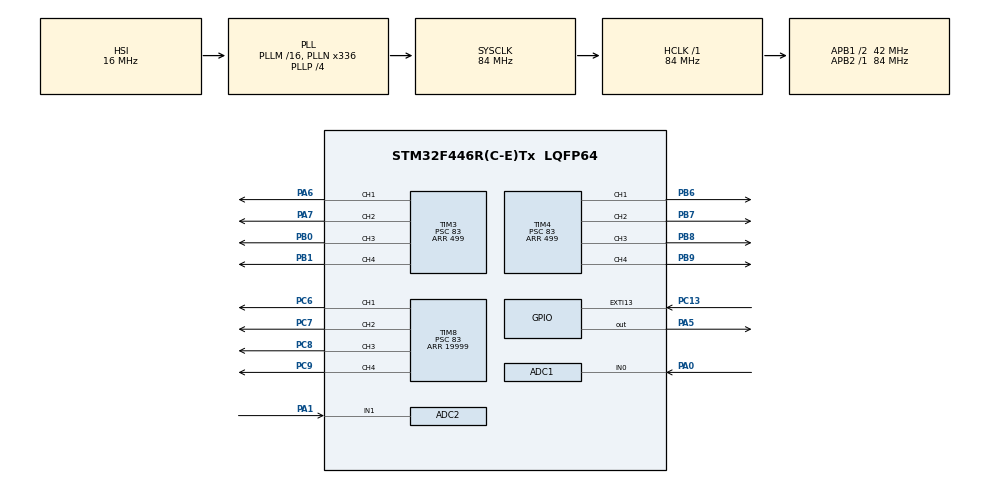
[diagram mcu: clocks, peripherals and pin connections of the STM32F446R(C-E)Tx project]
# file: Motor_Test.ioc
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ADC1.Channel-0\#ChannelRegularConversion=ADC_CHANNEL_0
ADC1.NbrOfConversion=1
ADC1.NbrOfConversionFlag=1
ADC1.Rank-0\#ChannelRegularConversion=1
ADC1.SamplingTime-0\#ChannelRegularConversion=ADC_SAMPLETIME_3CYCLES
ADC1.master=1
ADC2.Channel-0\#ChannelRegularConversion=ADC_CHANNEL_1
ADC2.NbrOfConversionFlag=1
ADC2.Rank-0\#ChannelRegularConversion=1
ADC2.SamplingTime-0\#ChannelRegularConversion=ADC_SAMPLETIME_3CYCLES
Mcu.Family=STM32F4
Mcu.Name=STM32F446R(C-E)Tx
Mcu.Package=LQFP64
NUCLEO-F446RE.BUTTON=1
NUCLEO-F446RE.LD1=true
NVIC.EXTI15_10_IRQn=true\:0\:0\:false\:false\:true\:false\:true\:true
NVIC.PriorityGroup=NVIC_PRIORITYGROUP_0
PA0-WKUP.Signal=ADCx_IN0
PA1.Signal=ADCx_IN1
PA13.GPIO_Label=TMS
PA13.Signal=SYS_JTMS-SWDIO
PA14.GPIO_Label=TCK
PA14.Signal=SYS_JTCK-SWCLK
PA2.GPIO_Label=USART_TX
PA2.Signal=USART2_TX
PA3.GPIO_Label=USART_RX
PA3.Signal=USART2_RX
PA5.Signal=GPIO_Output
PA6.Signal=S_TIM3_CH1
PA7.Signal=S_TIM3_CH2
PB0.Signal=S_TIM3_CH3
PB1.Signal=S_TIM3_CH4
PB3.GPIO_Label=SWO
PB3.Signal=SYS_JTDO-SWO
PB6.Signal=S_TIM4_CH1
PB7.Signal=S_TIM4_CH2
PB8.Signal=S_TIM4_CH3
PB9.Signal=S_TIM4_CH4
PC13.Signal=GPXTI13
PC14-OSC32_IN.Signal=RCC_OSC32_IN
PC15-OSC32_OUT.Signal=RCC_OSC32_OUT
PC6.Signal=S_TIM8_CH1
PC7.Signal=S_TIM8_CH2
PC8.Signal=S_TIM8_CH3
PC9.Signal=S_TIM8_CH4
PH0-OSC_IN.Signal=RCC_OSC_IN
PH1-OSC_OUT.Signal=RCC_OSC_OUT
ProjectManager.HeapSize=0x200
ProjectManager.StackSize=0x400
ProjectManager.TargetToolchain=STM32CubeIDE
RCC.AHBFreq_Value=84000000
RCC.APB1CLKDivider=RCC_HCLK_DIV2
RCC.APB1Freq_Value=42000000
RCC.APB1TimFreq_Value=84000000
RCC.APB2Freq_Value=84000000
RCC.APB2TimFreq_Value=84000000
RCC.CortexFreq_Value=84000000
RCC.FLatency-AdvancedSettings=FLASH_LATENCY_2
RCC.HCLKFreq_Value=84000000
RCC.HSE_VALUE=8000000
RCC.HSI_VALUE=16000000
RCC.LSE_VALUE=32768
RCC.PLLN=336
RCC.PLLP=RCC_PLLP_DIV4
RCC.SYSCLKFreq_VALUE=84000000
RCC.SYSCLKSource=RCC_SYSCLKSOURCE_PLLCLK
RCC.USBFreq_Value=168000000
RCC.VCOOutputFreq_Value=336000000
SH.ADCx_IN0.0=ADC1_IN0,IN0
SH.ADCx_IN0.1=ADC2_IN0
SH.ADCx_IN1.0=ADC2_IN1,IN1
SH.S_TIM3_CH1.0=TIM3_CH1,PWM Generation1 CH1
SH.S_TIM3_CH2.0=TIM3_CH2,PWM Generation2 CH2
SH.S_TIM3_CH3.0=TIM3_CH3,PWM Generation3 CH3
SH.S_TIM3_CH4.0=TIM3_CH4,PWM Generation4 CH4
SH.S_TIM4_CH1.0=TIM4_CH1,PWM Generation1 CH1
SH.S_TIM4_CH2.0=TIM4_CH2,PWM Generation2 CH2
SH.S_TIM4_CH3.0=TIM4_CH3,PWM Generation3 CH3
SH.S_TIM4_CH4.0=TIM4_CH4,PWM Generation4 CH4
SH.S_TIM8_CH1.0=TIM8_CH1,PWM Generation1 CH1
SH.S_TIM8_CH2.0=TIM8_CH2,PWM Generation2 CH2
SH.S_TIM8_CH3.0=TIM8_CH3,PWM Generation3 CH3
SH.S_TIM8_CH4.0=TIM8_CH4,PWM Generation4 CH4
TIM3.Channel-PWM\ Generation1\ CH1=TIM_CHANNEL_1
TIM3.Channel-PWM\ Generation2\ CH2=TIM_CHANNEL_2
TIM3.Channel-PWM\ Generation3\ CH3=TIM_CHANNEL_3
TIM3.Channel-PWM\ Generation4\ CH4=TIM_CHANNEL_4
TIM3.Period=499
TIM3.Prescaler=83
TIM4.Channel-PWM\ Generation1\ CH1=TIM_CHANNEL_1
TIM4.Channel-PWM\ Generation2\ CH2=TIM_CHANNEL_2
TIM4.Channel-PWM\ Generation3\ CH3=TIM_CHANNEL_3
TIM4.Channel-PWM\ Generation4\ CH4=TIM_CHANNEL_4
TIM4.Period=499
TIM4.Prescaler=83
TIM8.Channel-PWM\ Generation1\ CH1=TIM_CHANNEL_1
TIM8.Channel-PWM\ Generation2\ CH2=TIM_CHANNEL_2
TIM8.Channel-PWM\ Generation3\ CH3=TIM_CHANNEL_3
TIM8.Channel-PWM\ Generation4\ CH4=TIM_CHANNEL_4
TIM8.Period=19999
TIM8.Prescaler=83
TIM8.Pulse-PWM\ Generation1\ CH1=1500
TIM8.Pulse-PWM\ Generation2\ CH2=1500
TIM8.Pulse-PWM\ Generation4\ CH4=1500
VP_NUCLEO-F446RE_VS_BSP_COMMON.Mode=COMMON
board=NUCLEO-F446RE

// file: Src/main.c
/* USER CODE BEGIN Header */
/**
  ******************************************************************************
  * @file           : main.c
  * @brief          : Main program body
  ******************************************************************************
  * @attention
  *
  * Copyright (c) 2026 STMicroelectronics.
  * All rights reserved.
  *
  * This software is licensed under terms that can be found in the LICENSE file
  * in the root directory of this software component.
  * If no LICENSE file comes with this software, it is provided AS-IS.
  *
  ******************************************************************************
  */
/* USER CODE END Header */
#include "main.h"

ADC_HandleTypeDef hadc1;
ADC_HandleTypeDef hadc2;

TIM_HandleTypeDef htim3;
TIM_HandleTypeDef htim4;
TIM_HandleTypeDef htim8;

/* USER CODE BEGIN PV */

uint32_t adc_value = 0;
uint32_t pwm_value = 0;
uint32_t servo_adc = 0;
uint32_t servo_pulse = 1500;

/* USER CODE END PV */

void SystemClock_Config(void);
static void MX_GPIO_Init(void);
static void MX_TIM3_Init(void);
static void MX_TIM4_Init(void);
static void MX_ADC1_Init(void);
static void MX_ADC2_Init(void);
static void MX_TIM8_Init(void);

int main(void)
{

  /* MCU Configuration--------------------------------------------------------*/

  /* Reset of all peripherals, Initializes the Flash interface and the Systick. */
  HAL_Init();

  /* Configure the system clock */
  SystemClock_Config();

  /* Initialize all configured peripherals */
  MX_GPIO_Init();
  MX_TIM3_Init();
  MX_TIM4_Init();
  MX_ADC1_Init();
  MX_ADC2_Init();
  MX_TIM8_Init();
  /* USER CODE BEGIN 2 */

  /* Start TIM3 PWM channels - Motors 1 and 2 */
  HAL_TIM_PWM_Start(&htim3, TIM_CHANNEL_1);
  HAL_TIM_PWM_Start(&htim3, TIM_CHANNEL_2);
  HAL_TIM_PWM_Start(&htim3, TIM_CHANNEL_3);
  HAL_TIM_PWM_Start(&htim3, TIM_CHANNEL_4);

  /* Start TIM4 PWM channels - Motors 3 and 4 */
  HAL_TIM_PWM_Start(&htim4, TIM_CHANNEL_1);
  HAL_TIM_PWM_Start(&htim4, TIM_CHANNEL_2);
  HAL_TIM_PWM_Start(&htim4, TIM_CHANNEL_3);
  HAL_TIM_PWM_Start(&htim4, TIM_CHANNEL_4);

  HAL_TIM_PWM_Start(&htim8, TIM_CHANNEL_1);
  HAL_TIM_PWM_Start(&htim8, TIM_CHANNEL_2);
  HAL_TIM_PWM_Start(&htim8, TIM_CHANNEL_3);
  HAL_TIM_PWM_Start(&htim8, TIM_CHANNEL_4);

  HAL_Delay(1000);

  /* USER CODE END 2 */

  /* Initialize leds */
  BSP_LED_Init(LED2);

  /* Initialize USER push-button, will be used to trigger an interrupt each time it's pressed.*/
  BSP_PB_Init(BUTTON_USER, BUTTON_MODE_EXTI);

  /* Infinite loop */
  /* USER CODE BEGIN WHILE */
  while (1)
  {

	  /* Start ADC conversion */
	  HAL_ADC_Start(&hadc1);

	  /* Wait for conversion */
	  HAL_ADC_PollForConversion(&hadc1, HAL_MAX_DELAY);

	  /* Read ADC value: 0 to 4095 */
	  adc_value = HAL_ADC_GetValue(&hadc1);

	  /* Convert 0...4095 into 0...500 */
	  pwm_value = (adc_value * 500) / 4095;

	  /* MOTOR 1 */
	  __HAL_TIM_SET_COMPARE(&htim3, TIM_CHANNEL_1, pwm_value);
	  __HAL_TIM_SET_COMPARE(&htim3, TIM_CHANNEL_2, 0);

	  /* MOTOR 2 */
	  __HAL_TIM_SET_COMPARE(&htim3, TIM_CHANNEL_3, pwm_value);
	  __HAL_TIM_SET_COMPARE(&htim3, TIM_CHANNEL_4, 0);

	  /* MOTOR 3 */
	  __HAL_TIM_SET_COMPARE(&htim4, TIM_CHANNEL_1, pwm_value);
	  __HAL_TIM_SET_COMPARE(&htim4, TIM_CHANNEL_2, 0);

	  /* MOTOR 4 */
	  __HAL_TIM_SET_COMPARE(&htim4, TIM_CHANNEL_3, pwm_value);
	  __HAL_TIM_SET_COMPARE(&htim4, TIM_CHANNEL_4, 0);

	  /* Read servo potentiometer */
	  HAL_ADC_Start(&hadc2);

	  HAL_ADC_PollForConversion(&hadc2, HAL_MAX_DELAY);

	  servo_adc = HAL_ADC_GetValue(&hadc2);

	  HAL_ADC_Stop(&hadc2);

	  servo_pulse = 1000 + ((servo_adc * 1000) / 4095);

	  __HAL_TIM_SET_COMPARE(&htim8, TIM_CHANNEL_1, servo_pulse);
	  __HAL_TIM_SET_COMPARE(&htim8, TIM_CHANNEL_2, servo_pulse);
	  __HAL_TIM_SET_COMPARE(&htim8, TIM_CHANNEL_3, servo_pulse);
	  __HAL_TIM_SET_COMPARE(&htim8, TIM_CHANNEL_4, servo_pulse);

	  HAL_Delay(10);

    /* USER CODE END WHILE */

  }
}

void SystemClock_Config(void)
{
  RCC_OscInitTypeDef RCC_OscInitStruct = {0};
  RCC_ClkInitTypeDef RCC_ClkInitStruct = {0};

  /** Configure the main internal regulator output voltage
  */
  __HAL_RCC_PWR_CLK_ENABLE();
  __HAL_PWR_VOLTAGESCALING_CONFIG(PWR_REGULATOR_VOLTAGE_SCALE3);

  /** Initializes the RCC Oscillators according to the specified parameters
  * in the RCC_OscInitTypeDef structure.
  */
  RCC_OscInitStruct.OscillatorType = RCC_OSCILLATORTYPE_HSI;
  RCC_OscInitStruct.HSIState = RCC_HSI_ON;
  RCC_OscInitStruct.HSICalibrationValue = RCC_HSICALIBRATION_DEFAULT;
  RCC_OscInitStruct.PLL.PLLState = RCC_PLL_ON;
  RCC_OscInitStruct.PLL.PLLSource = RCC_PLLSOURCE_HSI;
  RCC_OscInitStruct.PLL.PLLM = 16;
  RCC_OscInitStruct.PLL.PLLN = 336;
  RCC_OscInitStruct.PLL.PLLP = RCC_PLLP_DIV4;
  RCC_OscInitStruct.PLL.PLLQ = 2;
  RCC_OscInitStruct.PLL.PLLR = 2;
  if (HAL_RCC_OscConfig(&RCC_OscInitStruct) != HAL_OK)
  {
    Error_Handler();
  }

  /** Initializes the CPU, AHB and APB buses clocks
  */
  RCC_ClkInitStruct.ClockType = RCC_CLOCKTYPE_HCLK|RCC_CLOCKTYPE_SYSCLK
                              |RCC_CLOCKTYPE_PCLK1|RCC_CLOCKTYPE_PCLK2;
  RCC_ClkInitStruct.SYSCLKSource = RCC_SYSCLKSOURCE_PLLCLK;
  RCC_ClkInitStruct.AHBCLKDivider = RCC_SYSCLK_DIV1;
  RCC_ClkInitStruct.APB1CLKDivider = RCC_HCLK_DIV2;
  RCC_ClkInitStruct.APB2CLKDivider = RCC_HCLK_DIV1;

  if (HAL_RCC_ClockConfig(&RCC_ClkInitStruct, FLASH_LATENCY_2) != HAL_OK)
  {
    Error_Handler();
  }
}

static void MX_ADC1_Init(void)
{

  ADC_ChannelConfTypeDef sConfig = {0};

  /** Configure the global features of the ADC (Clock, Resolution, Data Alignment and number of conversion)
  */
  hadc1.Instance = ADC1;
  hadc1.Init.ClockPrescaler = ADC_CLOCK_SYNC_PCLK_DIV4;
  hadc1.Init.Resolution = ADC_RESOLUTION_12B;
  hadc1.Init.ScanConvMode = DISABLE;
  hadc1.Init.ContinuousConvMode = DISABLE;
  hadc1.Init.DiscontinuousConvMode = DISABLE;
  hadc1.Init.ExternalTrigConvEdge = ADC_EXTERNALTRIGCONVEDGE_NONE;
  hadc1.Init.ExternalTrigConv = ADC_SOFTWARE_START;
  hadc1.Init.DataAlign = ADC_DATAALIGN_RIGHT;
  hadc1.Init.NbrOfConversion = 1;
  hadc1.Init.DMAContinuousRequests = DISABLE;
  hadc1.Init.EOCSelection = ADC_EOC_SINGLE_CONV;
  if (HAL_ADC_Init(&hadc1) != HAL_OK)
  {
    Error_Handler();
  }

  /** Configure for the selected ADC regular channel its corresponding rank in the sequencer and its sample time.
  */
  sConfig.Channel = ADC_CHANNEL_0;
  sConfig.Rank = 1;
  sConfig.SamplingTime = ADC_SAMPLETIME_3CYCLES;
  if (HAL_ADC_ConfigChannel(&hadc1, &sConfig) != HAL_OK)
  {
    Error_Handler();
  }

}

static void MX_ADC2_Init(void)
{

  ADC_ChannelConfTypeDef sConfig = {0};

  /** Configure the global features of the ADC (Clock, Resolution, Data Alignment and number of conversion)
  */
  hadc2.Instance = ADC2;
  hadc2.Init.ClockPrescaler = ADC_CLOCK_SYNC_PCLK_DIV4;
  hadc2.Init.Resolution = ADC_RESOLUTION_12B;
  hadc2.Init.ScanConvMode = DISABLE;
  hadc2.Init.ContinuousConvMode = DISABLE;
  hadc2.Init.DiscontinuousConvMode = DISABLE;
  hadc2.Init.ExternalTrigConvEdge = ADC_EXTERNALTRIGCONVEDGE_NONE;
  hadc2.Init.ExternalTrigConv = ADC_SOFTWARE_START;
  hadc2.Init.DataAlign = ADC_DATAALIGN_RIGHT;
  hadc2.Init.NbrOfConversion = 1;
  hadc2.Init.DMAContinuousRequests = DISABLE;
  hadc2.Init.EOCSelection = ADC_EOC_SINGLE_CONV;
  if (HAL_ADC_Init(&hadc2) != HAL_OK)
  {
    Error_Handler();
  }

  /** Configure for the selected ADC regular channel its corresponding rank in the sequencer and its sample time.
  */
  sConfig.Channel = ADC_CHANNEL_1;
  sConfig.Rank = 1;
  sConfig.SamplingTime = ADC_SAMPLETIME_3CYCLES;
  if (HAL_ADC_ConfigChannel(&hadc2, &sConfig) != HAL_OK)
  {
    Error_Handler();
  }

}

static void MX_TIM3_Init(void)
{

  TIM_MasterConfigTypeDef sMasterConfig = {0};
  TIM_OC_InitTypeDef sConfigOC = {0};

  htim3.Instance = TIM3;
  htim3.Init.Prescaler = 83;
  htim3.Init.CounterMode = TIM_COUNTERMODE_UP;
  htim3.Init.Period = 499;
  htim3.Init.ClockDivision = TIM_CLOCKDIVISION_DIV1;
  htim3.Init.AutoReloadPreload = TIM_AUTORELOAD_PRELOAD_DISABLE;
  if (HAL_TIM_PWM_Init(&htim3) != HAL_OK)
  {
    Error_Handler();
  }
  sMasterConfig.MasterOutputTrigger = TIM_TRGO_RESET;
  sMasterConfig.MasterSlaveMode = TIM_MASTERSLAVEMODE_DISABLE;
  if (HAL_TIMEx_MasterConfigSynchronization(&htim3, &sMasterConfig) != HAL_OK)
  {
    Error_Handler();
  }
  sConfigOC.OCMode = TIM_OCMODE_PWM1;
  sConfigOC.Pulse = 0;
  sConfigOC.OCPolarity = TIM_OCPOLARITY_HIGH;
  sConfigOC.OCFastMode = TIM_OCFAST_DISABLE;
  if (HAL_TIM_PWM_ConfigChannel(&htim3, &sConfigOC, TIM_CHANNEL_1) != HAL_OK)
  {
    Error_Handler();
  }
  if (HAL_TIM_PWM_ConfigChannel(&htim3, &sConfigOC, TIM_CHANNEL_2) != HAL_OK)
  {
    Error_Handler();
  }
  if (HAL_TIM_PWM_ConfigChannel(&htim3, &sConfigOC, TIM_CHANNEL_3) != HAL_OK)
  {
    Error_Handler();
  }
  if (HAL_TIM_PWM_ConfigChannel(&htim3, &sConfigOC, TIM_CHANNEL_4) != HAL_OK)
  {
    Error_Handler();
  }
  HAL_TIM_MspPostInit(&htim3);

}

static void MX_TIM4_Init(void)
{

  TIM_MasterConfigTypeDef sMasterConfig = {0};
  TIM_OC_InitTypeDef sConfigOC = {0};

  htim4.Instance = TIM4;
  htim4.Init.Prescaler = 83;
  htim4.Init.CounterMode = TIM_COUNTERMODE_UP;
  htim4.Init.Period = 499;
  htim4.Init.ClockDivision = TIM_CLOCKDIVISION_DIV1;
  htim4.Init.AutoReloadPreload = TIM_AUTORELOAD_PRELOAD_DISABLE;
  if (HAL_TIM_PWM_Init(&htim4) != HAL_OK)
  {
    Error_Handler();
  }
  sMasterConfig.MasterOutputTrigger = TIM_TRGO_RESET;
  sMasterConfig.MasterSlaveMode = TIM_MASTERSLAVEMODE_DISABLE;
  if (HAL_TIMEx_MasterConfigSynchronization(&htim4, &sMasterConfig) != HAL_OK)
  {
    Error_Handler();
  }
  sConfigOC.OCMode = TIM_OCMODE_PWM1;
  sConfigOC.Pulse = 0;
  sConfigOC.OCPolarity = TIM_OCPOLARITY_HIGH;
  sConfigOC.OCFastMode = TIM_OCFAST_DISABLE;
  if (HAL_TIM_PWM_ConfigChannel(&htim4, &sConfigOC, TIM_CHANNEL_1) != HAL_OK)
  {
    Error_Handler();
  }
  if (HAL_TIM_PWM_ConfigChannel(&htim4, &sConfigOC, TIM_CHANNEL_2) != HAL_OK)
  {
    Error_Handler();
  }
  if (HAL_TIM_PWM_ConfigChannel(&htim4, &sConfigOC, TIM_CHANNEL_3) != HAL_OK)
  {
    Error_Handler();
  }
  if (HAL_TIM_PWM_ConfigChannel(&htim4, &sConfigOC, TIM_CHANNEL_4) != HAL_OK)
  {
    Error_Handler();
  }
  HAL_TIM_MspPostInit(&htim4);

}

static void MX_TIM8_Init(void)
{

  TIM_MasterConfigTypeDef sMasterConfig = {0};
  TIM_OC_InitTypeDef sConfigOC = {0};
  TIM_BreakDeadTimeConfigTypeDef sBreakDeadTimeConfig = {0};

  htim8.Instance = TIM8;
  htim8.Init.Prescaler = 83;
  htim8.Init.CounterMode = TIM_COUNTERMODE_UP;
  htim8.Init.Period = 19999;
  htim8.Init.ClockDivision = TIM_CLOCKDIVISION_DIV1;
  htim8.Init.RepetitionCounter = 0;
  htim8.Init.AutoReloadPreload = TIM_AUTORELOAD_PRELOAD_DISABLE;
  if (HAL_TIM_PWM_Init(&htim8) != HAL_OK)
  {
    Error_Handler();
  }
  sMasterConfig.MasterOutputTrigger = TIM_TRGO_RESET;
  sMasterConfig.MasterSlaveMode = TIM_MASTERSLAVEMODE_DISABLE;
  if (HAL_TIMEx_MasterConfigSynchronization(&htim8, &sMasterConfig) != HAL_OK)
  {
    Error_Handler();
  }
  sConfigOC.OCMode = TIM_OCMODE_PWM1;
  sConfigOC.Pulse = 1500;
  sConfigOC.OCPolarity = TIM_OCPOLARITY_HIGH;
  sConfigOC.OCNPolarity = TIM_OCNPOLARITY_HIGH;
  sConfigOC.OCFastMode = TIM_OCFAST_DISABLE;
  sConfigOC.OCIdleState = TIM_OCIDLESTATE_RESET;
  sConfigOC.OCNIdleState = TIM_OCNIDLESTATE_RESET;
  if (HAL_TIM_PWM_ConfigChannel(&htim8, &sConfigOC, TIM_CHANNEL_1) != HAL_OK)
  {
    Error_Handler();
  }
  if (HAL_TIM_PWM_ConfigChannel(&htim8, &sConfigOC, TIM_CHANNEL_2) != HAL_OK)
  {
    Error_Handler();
  }
  sConfigOC.Pulse = 0;
  if (HAL_TIM_PWM_ConfigChannel(&htim8, &sConfigOC, TIM_CHANNEL_3) != HAL_OK)
  {
    Error_Handler();
  }
  sConfigOC.Pulse = 1500;
  if (HAL_TIM_PWM_ConfigChannel(&htim8, &sConfigOC, TIM_CHANNEL_4) != HAL_OK)
  {
    Error_Handler();
  }
  sBreakDeadTimeConfig.OffStateRunMode = TIM_OSSR_DISABLE;
  sBreakDeadTimeConfig.OffStateIDLEMode = TIM_OSSI_DISABLE;
  sBreakDeadTimeConfig.LockLevel = TIM_LOCKLEVEL_OFF;
  sBreakDeadTimeConfig.DeadTime = 0;
  sBreakDeadTimeConfig.BreakState = TIM_BREAK_DISABLE;
  sBreakDeadTimeConfig.BreakPolarity = TIM_BREAKPOLARITY_HIGH;
  sBreakDeadTimeConfig.AutomaticOutput = TIM_AUTOMATICOUTPUT_DISABLE;
  if (HAL_TIMEx_ConfigBreakDeadTime(&htim8, &sBreakDeadTimeConfig) != HAL_OK)
  {
    Error_Handler();
  }
  HAL_TIM_MspPostInit(&htim8);

}

static void MX_GPIO_Init(void)
{
  GPIO_InitTypeDef GPIO_InitStruct = {0};

  /* GPIO Ports Clock Enable */
  __HAL_RCC_GPIOC_CLK_ENABLE();
  __HAL_RCC_GPIOH_CLK_ENABLE();
  __HAL_RCC_GPIOA_CLK_ENABLE();
  __HAL_RCC_GPIOB_CLK_ENABLE();

  /*Configure GPIO pins : USART_TX_Pin USART_RX_Pin */
  GPIO_InitStruct.Pin = USART_TX_Pin|USART_RX_Pin;
  GPIO_InitStruct.Mode = GPIO_MODE_AF_PP;
  GPIO_InitStruct.Pull = GPIO_NOPULL;
  GPIO_InitStruct.Speed = GPIO_SPEED_FREQ_VERY_HIGH;
  GPIO_InitStruct.Alternate = GPIO_AF7_USART2;
  HAL_GPIO_Init(GPIOA, &GPIO_InitStruct);

}

void Error_Handler(void)
{
  __disable_irq();
  while (1)
  {
  }
}
